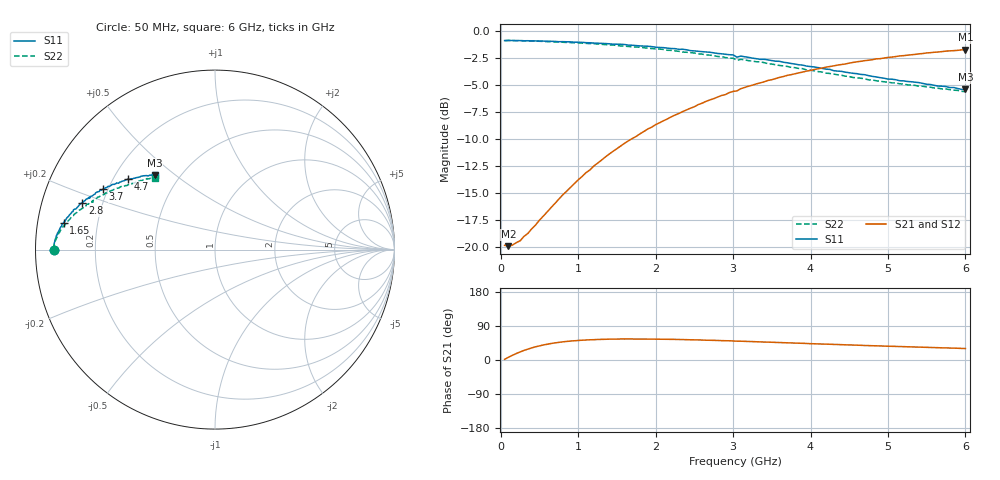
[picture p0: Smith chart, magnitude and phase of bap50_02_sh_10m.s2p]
! Created by janssen on Wed Jul 24 12:32:36 METDST 2002
# HZ S MA R 50
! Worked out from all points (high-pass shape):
!   120 points, 50 MHz to 6 GHz, reference 50 ohm
!   highest |S21| = -1.76 dB at 6 GHz (marker M1); lowest = -19.9 dB at 100 MHz (marker M2)
!   |S21| within 3 dB of the highest: 3.389 GHz to end of sweep
!   lowest |S11| = -5.4 dB at 6 GHz (marker M3), VSWR 3.30, Z = 18.2 + j21.2 ohm
!   |S11| at or under -10 dB: nowhere
!   |S22| runs from -5.6 to -0.9 dB; largest |S21 - S12| = 0.016
!   S11 on the Smith chart (normalised r, x): 50 MHz: 0.05, -0.00; 1.65 GHz: 0.08, +0.09; 2.8 GHz: 0.12, +0.17; 3.7 GHz: 0.18, +0.24; 4.7 GHz: 0.26, +0.33; 6 GHz: 0.36, +0.42
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5e7  0.8984 -180.0  0.1021 1.8  0.1022 1.8  0.8983 180.0
1e8  0.8996 179.6  0.1011 7.3  0.1013 7.0  0.8997 179.5
1.5e8  0.8991 179.3  0.1023 12.3  0.1019 12.3  0.8985 179.1
2.5e8  0.8985 178.6  0.1071 21.2  0.1075 20.9  0.8975 178.6
3e8  0.8966 178.3  0.1122 25.3  0.1113 24.9  0.8968 178.3
8e8  0.8883 175.5  0.1742 47.9  0.1734 47.5  0.8828 175.4
1.05e9  0.8817 173.9  0.2119 52.2  0.2116 52.1  0.8748 174.0
1.35e9  0.8706 171.9  0.2608 54.7  0.2585 54.5  0.861 172.2
1.65e9  0.8563 169.9  0.31 55.5  0.3082 54.9  0.8439 170.2
2.05e9  0.8351 166.9  0.375 54.8  0.3711 54.8  0.8211 167.4
2.5e9  0.8052 163.4  0.4446 53.2  0.4431 53.0  0.7872 163.8
2.8e9  0.7837 160.6  0.4931 51.5  0.4876 51.4  0.7587 161.3
3e9  0.7718 158.7  0.5235 50.3  0.5177 50.0  0.7451 159.3
3.05e9  0.7535 157.4  0.5264 49.7  0.5193 50.0  0.7284 158.7
3.1e9  0.762 157.8  0.5389 49.6  0.5312 49.6  0.7362 158.5
3.65e9  0.7137 152.3  0.6134 45.7  0.6033 45.8  0.6866 152.6
3.7e9  0.7099 151.7  0.6209 45.4  0.6114 45.7  0.6828 152.6
4.05e9  0.6786 147.8  0.6611 42.8  0.6514 43.3  0.6513 148.9
4.7e9  0.6252 141.1  0.7261 38.2  0.715 39.1  0.5991 142.3
5.05e9  0.5961 137.9  0.754 36.1  0.7474 37.0  0.5734 138.7
5.55e9  0.5635 132.9  0.7901 33.0  0.7847 33.9  0.5475 133.7
6e9  0.5345 129.1  0.8165 30.2  0.8169 31.3  0.5219 130.1
